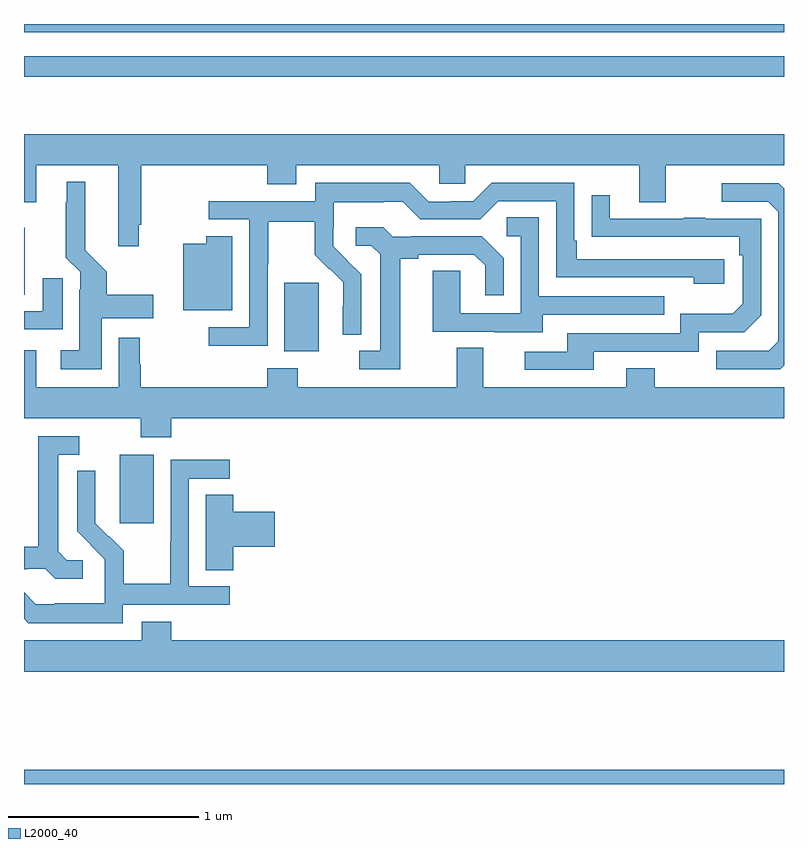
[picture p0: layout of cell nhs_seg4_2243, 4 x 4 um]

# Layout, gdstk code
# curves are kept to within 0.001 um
import gdstk
lib = gdstk.Library(unit=1e-6, precision=1e-09)
def R(c, l, rs):  # rectangles x0, y0, x1, y1
    for r in rs: c.add(gdstk.rectangle(r[:2], r[2:], *l))
def P(c, l, *ps):  # polygons
    for p in ps: c.add(gdstk.Polygon(p, *l))
L2000_40 = (2000, 40)

nhs_seg4_2243 = lib.new_cell('nhs_seg4_2243')
R(nhs_seg4_2243, L2000_40, [(227,790.9,231,790.976), (227.504,792.273,227.683,792.634), (228.371,793.178,228.55,793.539), (227,793.474,227.005,793.828), (227,794.622,231,794.73), (227,794.856,231,794.9)])
P(nhs_seg4_2243, L2000_40, [(227.605,793.843),(227.618,793.843),(227.618,794.156),(228.281,794.156),(228.281,794.057),(228.433,794.057),(228.433,794.156),(229.185,794.156),(229.185,794.058),(229.323,794.058),(229.323,794.156),(230.237,794.156),(230.237,793.962),(230.377,793.962),(230.377,794.156),(231,794.156),(231,794.32),(227,794.32),(227,793.962),(227.065,793.962),(227.065,794.156),(227.495,794.156),(227.495,793.731),(227.605,793.731)],
  [(227.41,793.352),(227.68,793.352),(227.68,793.474),(227.436,793.474),(227.436,793.595),(227.323,793.708),(227.323,794.071),(227.225,794.071),(227.225,793.961),(227.221,793.961),(227.221,793.67),(227.295,793.596),(227.295,793.502),(227.291,793.502),(227.291,793.183),(227.193,793.183),(227.193,793.082),(227.41,793.082)],
  [(228.282,793.636),(228.285,793.636),(228.285,793.86),(228.529,793.86),(228.529,793.685),(228.606,793.608),(228.609,793.611),(228.68,793.541),(228.68,793.418),(228.678,793.418),(228.678,793.264),(228.774,793.264),(228.774,793.582),(228.628,793.73),(228.628,793.827),(228.63,793.827),(228.63,793.961),(228.893,793.961),(228.893,793.965),(228.993,793.965),(229.086,793.872),(229.401,793.872),(229.497,793.968),(229.8,793.968),(229.8,793.566),(230.525,793.566),(230.525,793.532),(230.686,793.532),(230.686,793.662),(229.909,793.662),(229.909,793.759),(229.896,793.759),(229.896,794.064),(229.461,794.064),(229.365,793.968),(229.247,793.968),(229.247,793.965),(229.131,793.965),(229.031,794.065),(228.534,794.065),(228.534,793.968),(227.973,793.968),(227.973,793.872),(228.186,793.872),(228.186,793.305),(227.973,793.305),(227.973,793.207),(228.282,793.207)],
  [(231,793.104),(231,794.034),(230.973,794.061),(230.673,794.061),(230.673,793.965),(230.916,793.965),(230.97,793.911),(230.97,793.23),(230.919,793.179),(230.643,793.179),(230.643,793.083),(230.979,793.083)],
  [(229.999,793.176),(230.55,793.176),(230.55,793.278),(230.79,793.278),(230.88,793.368),(230.88,793.875),(230.585,793.875),(230.585,793.88),(230.473,793.88),(230.473,793.875),(230.083,793.875),(230.083,793.999),(229.987,793.999),(229.987,793.78),(230.764,793.779),(230.764,793.682),(230.784,793.682),(230.784,793.428),(230.731,793.375),(230.454,793.375),(230.454,793.272),(229.859,793.272),(229.859,793.176),(229.635,793.176),(229.635,793.08),(229.999,793.08)],
  [(229.729,793.371),(230.369,793.371),(230.369,793.467),(229.71,793.467),(229.71,793.883),(229.542,793.883),(229.542,793.782),(229.614,793.782),(229.614,793.377),(229.296,793.377),(229.296,793.601),(229.151,793.601),(229.151,793.281),(229.475,793.281),(229.475,793.277),(229.729,793.277)],
  [(228.979,793.664),(229.075,793.664),(229.075,793.686),(229.37,793.686),(229.427,793.629),(229.427,793.473),(229.524,793.473),(229.524,793.666),(229.408,793.782),(229.036,793.782),(229.036,793.779),(228.942,793.779),(228.89,793.831),(228.747,793.831),(228.747,793.734),(228.828,793.734),(228.875,793.687),(228.875,793.179),(228.765,793.179),(228.765,793.083),(228.979,793.083)],
  [(228.097,793.783),(227.959,793.783),(227.959,793.744),(227.837,793.744),(227.837,793.394),(228.097,793.394)],
  [(227.203,793.561),(227.099,793.561),(227.099,793.389),(227,793.389),(227,793.293),(227.203,793.293)],
  [(227.774,792.824),(231,792.824),(231,792.988),(230.319,792.988),(230.319,793.087),(230.171,793.087),(230.171,792.988),(229.417,792.988),(229.417,793.196),(229.277,793.196),(229.277,792.988),(228.441,792.988),(228.441,793.087),(228.281,793.087),(228.281,792.988),(227.615,792.988),(227.615,793.11),(227.608,793.11),(227.608,793.249),(227.499,793.249),(227.499,792.988),(227.065,792.988),(227.065,793.183),(227,793.183),(227,792.824),(227.614,792.824),(227.614,792.725),(227.774,792.725)],
  [(227.308,792.078),(227.226,792.078),(227.179,792.125),(227.179,792.633),(227.29,792.633),(227.29,792.729),(227.075,792.729),(227.075,792.149),(227,792.149),(227,792.03),(227.018,792.03),(227.018,792.033),(227.112,792.033),(227.164,791.981),(227.308,791.981)],
  [(227.52,791.844),(228.082,791.844),(228.082,791.94),(227.868,791.94),(227.868,792.507),(228.082,792.507),(228.082,792.606),(227.772,792.606),(227.772,792.176),(227.77,792.176),(227.77,791.953),(227.525,791.953),(227.525,792.127),(227.448,792.204),(227.445,792.201),(227.375,792.272),(227.376,792.548),(227.28,792.548),(227.28,792.23),(227.426,792.082),(227.426,791.985),(227.424,791.985),(227.424,791.851),(227.161,791.851),(227.161,791.847),(227.061,791.847),(227,791.908),(227,791.77),(227.023,791.747),(227.52,791.747)],
  [(228.101,792.149),(228.319,792.149),(228.319,792.332),(228.101,792.332),(228.101,792.422),(227.957,792.422),(227.957,792.025),(228.101,792.025)],
  [(231,791.656),(227.774,791.656),(227.774,791.755),(227.621,791.755),(227.621,791.656),(227,791.656),(227,791.492),(231,791.492)])

lib.write_gds('nhs_seg4_2243.gds')
